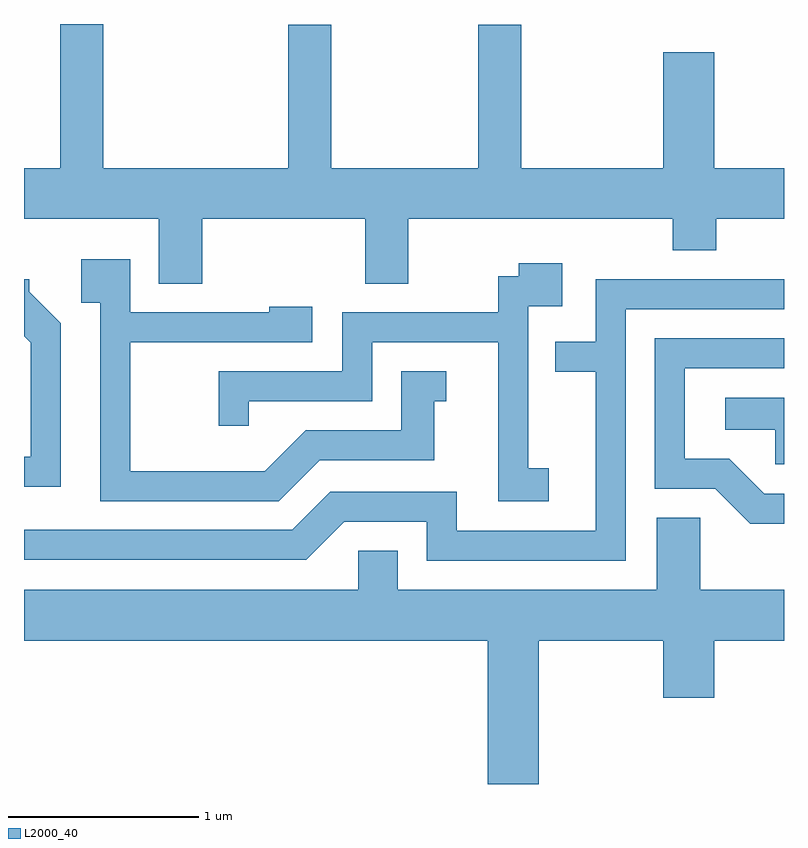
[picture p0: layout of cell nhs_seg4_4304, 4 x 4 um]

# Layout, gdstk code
import gdstk
lib = gdstk.Library(unit=1e-6, precision=1e-09)
def P(c, l, *ps):  # polygons
    for p in ps: c.add(gdstk.Polygon(p, *l))
L2000_40 = (2000, 40)

nhs_seg4_4304 = lib.new_cell('nhs_seg4_4304')
P(nhs_seg4_4304, L2000_40, [(312.549,1296.956),(313.406,1296.956),(313.406,1296.616),(313.634,1296.616),(313.634,1296.956),(315.026,1296.956),(315.026,1296.791),(315.254,1296.791),(315.254,1296.956),(315.611,1296.956),(315.611,1297.224),(315.244,1297.224),(315.244,1297.834),(314.976,1297.834),(314.976,1297.224),(314.229,1297.224),(314.229,1297.979),(314.001,1297.979),(314.001,1297.224),(313.229,1297.224),(313.229,1297.979),(313.001,1297.979),(313.001,1297.224),(312.029,1297.224),(312.029,1297.982),(311.801,1297.982),(311.801,1297.224),(311.611,1297.224),(311.611,1296.956),(312.321,1296.956),(312.321,1296.616),(312.549,1296.616)],
  [(313.167,1295.686),(313.769,1295.686),(313.769,1295.996),(313.833,1295.996),(313.833,1296.154),(313.596,1296.154),(313.596,1295.844),(313.094,1295.844),(312.879,1295.629),(312.169,1295.629),(312.169,1296.306),(313.129,1296.306),(313.129,1296.494),(312.901,1296.494),(312.901,1296.464),(312.169,1296.464),(312.169,1296.744),(311.911,1296.744),(311.911,1296.516),(312.011,1296.516),(312.011,1295.471),(312.952,1295.471)],
  [(314.374,1295.644),(314.264,1295.644),(314.264,1296.496),(314.444,1296.496),(314.444,1296.724),(314.216,1296.724),(314.216,1296.654),(314.106,1296.654),(314.106,1296.464),(313.286,1296.464),(313.286,1296.154),(312.636,1296.154),(312.636,1295.868),(312.794,1295.868),(312.794,1295.996),(313.444,1295.996),(313.444,1296.306),(314.106,1296.306),(314.106,1295.471),(314.374,1295.471)],
  [(311.804,1296.407),(311.639,1296.572),(311.639,1296.639),(311.611,1296.639),(311.611,1296.339),(311.646,1296.304),(311.646,1295.704),(311.611,1295.704),(311.611,1295.546),(311.804,1295.546)],
  [(314.779,1296.481),(315.611,1296.481),(315.611,1296.639),(314.621,1296.639),(314.621,1296.309),(314.408,1296.309),(314.408,1296.151),(314.621,1296.151),(314.621,1295.314),(313.889,1295.314),(313.889,1295.519),(313.224,1295.519),(313.024,1295.319),(311.611,1295.319),(311.611,1295.161),(313.097,1295.161),(313.297,1295.361),(313.731,1295.361),(313.731,1295.156),(314.779,1295.156)],
  [(315.611,1295.509),(315.507,1295.509),(315.322,1295.694),(315.089,1295.694),(315.089,1296.171),(315.611,1296.171),(315.611,1296.329),(314.931,1296.329),(314.931,1295.536),(315.249,1295.536),(315.434,1295.351),(315.611,1295.351)],
  [(315.611,1296.014),(315.303,1296.014),(315.303,1295.846),(315.566,1295.846),(315.566,1295.666),(315.611,1295.666)],
  [(314.319,1294.736),(314.976,1294.736),(314.976,1294.436),(315.244,1294.436),(315.244,1294.736),(315.611,1294.736),(315.611,1295.004),(315.169,1295.004),(315.169,1295.384),(314.941,1295.384),(314.941,1295.004),(313.579,1295.004),(313.579,1295.209),(313.371,1295.209),(313.371,1295.004),(311.611,1295.004),(311.611,1294.736),(314.051,1294.736),(314.051,1293.982),(314.319,1293.982)])

lib.write_gds('nhs_seg4_4304.gds')
